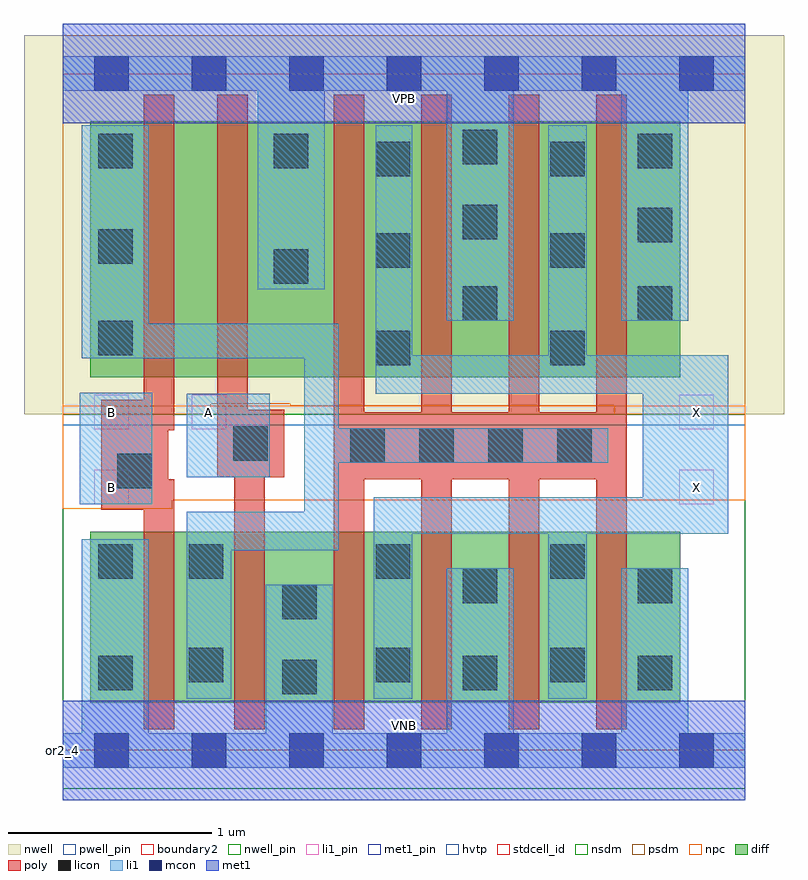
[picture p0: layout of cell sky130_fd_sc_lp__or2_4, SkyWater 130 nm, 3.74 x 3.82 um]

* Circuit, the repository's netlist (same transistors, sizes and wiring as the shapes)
* Copyright 2020 The SkyWater PDK Authors
*
* Licensed under the Apache License, Version 2.0 (the "License");
* you may not use this file except in compliance with the License.
* You may obtain a copy of the License at
*
*     https://www.apache.org/licenses/LICENSE-2.0
*
* Unless required by applicable law or agreed to in writing, software
* distributed under the License is distributed on an "AS IS" BASIS,
* WITHOUT WARRANTIES OR CONDITIONS OF ANY KIND, either express or implied.
* See the License for the specific language governing permissions and
* limitations under the License.
*
* SPDX-License-Identifier: Apache-2.0

.SUBCKT sky130_fd_sc_lp__or2_4 A B VGND VNB VPB VPWR X
*.PININFO A:I B:I VGND:I VNB:I VPB:I VPWR:I X:O
MMP0 VPWR A sndPA VPB sky130_fd_pr__pfet_01v8_hvt m=1 w=1.26U l=0.15U mult=1 sa=0.265
+ sb=0.265 sd=0.28 area=0.063 perim=1.14
MMP1 sndPA B y VPB sky130_fd_pr__pfet_01v8_hvt m=1 w=1.26U l=0.15U mult=1 sa=0.265
+ sb=0.265 sd=0.28 area=0.063 perim=1.14
MMIP2 X y VPWR VPB sky130_fd_pr__pfet_01v8_hvt m=4 w=1.26U l=0.15U mult=1 sa=0.265
+ sb=0.265 sd=0.28 area=0.063 perim=1.14
MMN0 y A VGND VNB sky130_fd_pr__nfet_01v8 m=1 w=0.84U l=0.15U mult=1 sa=0.265 sb=0.265
+ sd=0.28 area=0.063 perim=1.14
MMN1 y B VGND VNB sky130_fd_pr__nfet_01v8 m=1 w=0.84U l=0.15U mult=1 sa=0.265 sb=0.265
+ sd=0.28 area=0.063 perim=1.14
MMIN2 X y VGND VNB sky130_fd_pr__nfet_01v8 m=4 w=0.84U l=0.15U mult=1 sa=0.265
+ sb=0.265 sd=0.28 area=0.063 perim=1.14
.ENDS sky130_fd_sc_lp__or2_4

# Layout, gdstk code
import gdstk
lib = gdstk.Library(unit=1e-6, precision=1e-09)
def R(c, l, rs):  # rectangles x0, y0, x1, y1
    for r in rs: c.add(gdstk.rectangle(r[:2], r[2:], *l))
def A(c, l, x, y, w, h, nx, ny, dx, dy):  # array of equal rectangles
    R(c, l, [(x+i*dx, y+j*dy, x+i*dx+w, y+j*dy+h) for i in range(nx) for j in range(ny)])
def P(c, l, *ps):  # polygons
    for p in ps: c.add(gdstk.Polygon(p, *l))
nwell_pin = (64, 16)
nwell = (64, 20)
diff = (65, 20)
poly = (66, 20)
licon = (66, 44)
li1_pin = (67, 16)
li1 = (67, 20)
mcon = (67, 44)
met1_pin = (68, 16)
met1 = (68, 20)
hvtp = (78, 44)
stdcell_id = (81, 4)
nsdm = (93, 44)
psdm = (94, 20)
npc = (95, 20)
pwell_pin = (122, 16)
boundary2 = (236, 0)

sky130_fd_sc_lp__or2_4 = lib.new_cell('sky130_fd_sc_lp__or2_4')
R(sky130_fd_sc_lp__or2_4, nwell_pin, [(0,3.085,3.36,3.33)])
R(sky130_fd_sc_lp__or2_4, nwell, [(-0.19,1.655,3.55,3.52)])
R(sky130_fd_sc_lp__or2_4, diff, [(0.135,0.235,3.04,1.075), (0.135,1.835,3.04,3.095)])
P(sky130_fd_sc_lp__or2_4, poly, [(0.55,1.335),(0.52,1.335),(0.52,1.575),(0.55,1.575),(0.55,3.225),(0.4,3.225),(0.4,1.725),(0.19,1.725),(0.19,1.185),(0.4,1.185),(0.4,0.105),(0.55,0.105)],
  [(1.09,1.675),(0.91,1.675),(0.91,3.225),(0.76,3.225),(0.76,1.345),(0.845,1.345),(0.845,0.105),(0.995,0.105),(0.995,1.345),(1.09,1.345)],
  [(2.775,3.225),(2.625,3.225),(2.625,1.665),(2.345,1.665),(2.345,3.225),(2.195,3.225),(2.195,1.665),(1.915,1.665),(1.915,3.225),(1.765,3.225),(1.765,1.665),(1.485,1.665),(1.485,3.225),(1.335,3.225),(1.335,0.105),(1.485,0.105),(1.485,1.335),(1.765,1.335),(1.765,0.105),(1.915,0.105),(1.915,1.335),(2.195,1.335),(2.195,0.105),(2.345,0.105),(2.345,1.335),(2.625,1.335),(2.625,0.105),(2.775,0.105)])
A(sky130_fd_sc_lp__or2_4, licon, 1.415, 1.415, 0.17, 0.17, 4, 1, 0.34, 0)
R(sky130_fd_sc_lp__or2_4, licon, [(1.08,0.275,1.25,0.445), (0.175,0.295,0.345,0.465), (1.97,0.295,2.14,0.465), (2.83,0.295,3,0.465), (0.62,0.335,0.79,0.505), (1.54,0.335,1.71,0.505), (2.4,0.335,2.57,0.505), (1.08,0.645,1.25,0.815), (1.97,0.725,2.14,0.895), (2.83,0.725,3,0.895), (0.175,0.845,0.345,1.015), (0.62,0.845,0.79,1.015), (1.54,0.845,1.71,1.015), (2.4,0.845,2.57,1.015), (0.27,1.29,0.44,1.46), (0.84,1.425,1.01,1.595), (1.54,1.895,1.71,2.065), (2.4,1.895,2.57,2.065), (0.175,1.945,0.345,2.115), (1.97,2.115,2.14,2.285), (2.83,2.115,3,2.285), (1.04,2.295,1.21,2.465), (1.54,2.375,1.71,2.545), (2.4,2.375,2.57,2.545), (0.175,2.395,0.345,2.565), (2.83,2.5,3,2.67), (1.97,2.515,2.14,2.685), (1.54,2.825,1.71,2.995), (2.4,2.825,2.57,2.995), (0.175,2.865,0.345,3.035), (1.04,2.865,1.21,3.035), (2.83,2.865,3,3.035), (1.97,2.885,2.14,3.055)])
R(sky130_fd_sc_lp__or2_4, li1_pin, [(0.155,1.21,0.325,1.38), (3.035,1.21,3.205,1.38), (0.155,1.58,0.325,1.75), (0.635,1.58,0.805,1.75), (3.035,1.58,3.205,1.75)])
R(sky130_fd_sc_lp__or2_4, li1, [(0.085,1.21,0.44,1.76), (0.61,1.345,1.02,1.755)])
P(sky130_fd_sc_lp__or2_4, li1, [(0.96,2.27),(0.96,3.245),(0,3.245),(0,3.415),(3.36,3.415),(3.36,3.245),(3.08,3.245),(3.08,2.115),(2.75,2.115),(2.75,3.245),(2.22,3.245),(2.22,2.115),(1.89,2.115),(1.89,3.245),(1.29,3.245),(1.29,2.27)],
  [(1.89,0.085),(1.89,0.895),(2.22,0.895),(2.22,0.085),(2.75,0.085),(2.75,0.895),(3.08,0.895),(3.08,0.085),(3.36,0.085),(3.36,-0.085),(0,-0.085),(0,0.085),(0.095,0.085),(0.095,1.04),(0.425,1.04),(0.425,0.085),(1,0.085),(1,0.815),(1.33,0.815),(1.33,0.085)],
  [(1.72,1.945),(2.39,1.945),(2.39,3.075),(2.58,3.075),(2.58,1.945),(3.275,1.945),(3.275,1.065),(2.58,1.065),(2.58,0.255),(2.39,0.255),(2.39,1.065),(1.72,1.065),(1.72,0.255),(1.53,0.255),(1.53,1.245),(2.855,1.245),(2.855,1.755),(1.54,1.755),(1.54,3.075),(1.72,3.075)],
  [(0.425,2.1),(1.36,2.1),(1.36,1.585),(2.685,1.585),(2.685,1.415),(1.36,1.415),(1.36,0.985),(0.83,0.985),(0.83,0.255),(0.61,0.255),(0.61,1.175),(1.19,1.175),(1.19,1.93),(0.095,1.93),(0.095,3.075),(0.425,3.075)])
A(sky130_fd_sc_lp__or2_4, mcon, 0.155, -0.085, 0.17, 0.17, 7, 2, 0.48, 3.33)
R(sky130_fd_sc_lp__or2_4, met1_pin, [(0,0,3.36,0.245), (0,3.085,3.36,3.33)])
R(sky130_fd_sc_lp__or2_4, met1, [(0,-0.245,3.36,0.245), (0,3.085,3.36,3.575)])
R(sky130_fd_sc_lp__or2_4, hvtp, [(0,1.6,3.36,3.33)])
R(sky130_fd_sc_lp__or2_4, stdcell_id, [(0,0,3.36,3.33)])
R(sky130_fd_sc_lp__or2_4, nsdm, [(0,-0.19,3.36,1.655)])
P(sky130_fd_sc_lp__or2_4, psdm, [(3.36,3.52),(0,3.52),(0,1.655),(0.73,1.655),(0.73,1.705),(1.12,1.705),(1.12,1.695),(2.715,1.695),(2.715,1.655),(3.36,1.655)])
P(sky130_fd_sc_lp__or2_4, npc, [(3.36,1.695),(0,1.695),(0,1.19),(0.54,1.19),(0.54,1.23),(3.36,1.23)])
R(sky130_fd_sc_lp__or2_4, pwell_pin, [(0,0,3.36,0.245)])
R(sky130_fd_sc_lp__or2_4, boundary2, [(0,0,3.36,3.33)])
sky130_fd_sc_lp__or2_4.add(gdstk.Label('VNB', (1.68,0.123), layer=64, texttype=59))
sky130_fd_sc_lp__or2_4.add(gdstk.Label('VPB', (1.68,3.208), layer=64, texttype=5))
sky130_fd_sc_lp__or2_4.add(gdstk.Label('or2_4', (0,0), layer=83, texttype=44))
sky130_fd_sc_lp__or2_4.add(gdstk.Label('VPWR', (1.68,3.208), layer=68, texttype=5))
sky130_fd_sc_lp__or2_4.add(gdstk.Label('VGND', (1.68,0.123), layer=68, texttype=5))
sky130_fd_sc_lp__or2_4.add(gdstk.Label('A', (0.72,1.665), layer=67, texttype=5))
sky130_fd_sc_lp__or2_4.add(gdstk.Label('B', (0.24,1.295), layer=67, texttype=5))
sky130_fd_sc_lp__or2_4.add(gdstk.Label('B', (0.24,1.665), layer=67, texttype=5))
sky130_fd_sc_lp__or2_4.add(gdstk.Label('X', (3.12,1.295), layer=67, texttype=5))
sky130_fd_sc_lp__or2_4.add(gdstk.Label('X', (3.12,1.665), layer=67, texttype=5))

lib.write_gds('sky130_fd_sc_lp__or2_4.gds')
